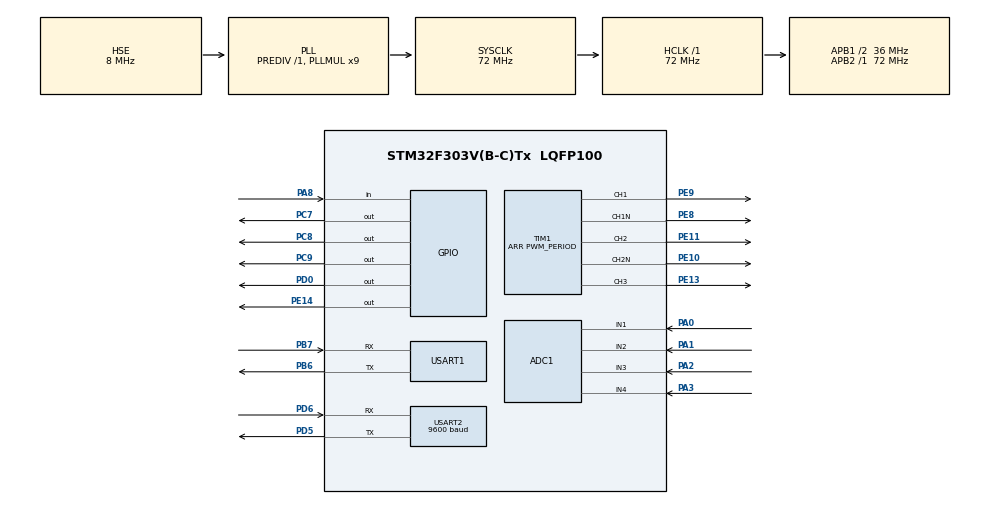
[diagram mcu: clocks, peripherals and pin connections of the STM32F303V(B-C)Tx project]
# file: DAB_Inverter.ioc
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ADC1.Channel-0\#ChannelRegularConversion=ADC_CHANNEL_1
ADC1.Channel-3\#ChannelRegularConversion=ADC_CHANNEL_3
ADC1.Channel-4\#ChannelRegularConversion=ADC_CHANNEL_4
ADC1.ContinuousConvMode=ENABLE
ADC1.DMAContinuousRequests=ENABLE
ADC1.NbrOfConversion=3
ADC1.NbrOfConversionFlag=1
ADC1.Offset-0\#ChannelRegularConversion=0
ADC1.Offset-3\#ChannelRegularConversion=0
ADC1.Offset-4\#ChannelRegularConversion=0
ADC1.OffsetNumber-0\#ChannelRegularConversion=ADC_OFFSET_NONE
ADC1.OffsetNumber-3\#ChannelRegularConversion=ADC_OFFSET_NONE
ADC1.OffsetNumber-4\#ChannelRegularConversion=ADC_OFFSET_NONE
ADC1.Rank-0\#ChannelRegularConversion=1
ADC1.Rank-3\#ChannelRegularConversion=2
ADC1.Rank-4\#ChannelRegularConversion=3
ADC1.SamplingTime-0\#ChannelRegularConversion=ADC_SAMPLETIME_181CYCLES_5
ADC1.SamplingTime-3\#ChannelRegularConversion=ADC_SAMPLETIME_181CYCLES_5
ADC1.SamplingTime-4\#ChannelRegularConversion=ADC_SAMPLETIME_181CYCLES_5
ADC1.SingleDiff-0\#ChannelRegularConversion=ADC_DIFFERENTIAL_ENDED
ADC1.master=1
Dma.ADC1.2.Direction=DMA_PERIPH_TO_MEMORY
Dma.ADC1.2.Instance=DMA1_Channel1
Dma.ADC1.2.MemDataAlignment=DMA_MDATAALIGN_HALFWORD
Dma.ADC1.2.MemInc=DMA_MINC_ENABLE
Dma.ADC1.2.Mode=DMA_CIRCULAR
Dma.ADC1.2.PeriphDataAlignment=DMA_PDATAALIGN_HALFWORD
Dma.ADC1.2.PeriphInc=DMA_PINC_DISABLE
Dma.ADC1.2.Priority=DMA_PRIORITY_HIGH
Dma.Request0=USART2_RX
Dma.Request1=USART2_TX
Dma.Request2=ADC1
Dma.USART2_RX.0.Direction=DMA_PERIPH_TO_MEMORY
Dma.USART2_RX.0.Instance=DMA1_Channel6
Dma.USART2_RX.0.MemDataAlignment=DMA_MDATAALIGN_BYTE
Dma.USART2_RX.0.MemInc=DMA_MINC_ENABLE
Dma.USART2_RX.0.Mode=DMA_CIRCULAR
Dma.USART2_RX.0.PeriphDataAlignment=DMA_PDATAALIGN_BYTE
Dma.USART2_RX.0.PeriphInc=DMA_PINC_DISABLE
Dma.USART2_RX.0.Priority=DMA_PRIORITY_LOW
Dma.USART2_TX.1.Direction=DMA_MEMORY_TO_PERIPH
Dma.USART2_TX.1.Instance=DMA1_Channel7
Dma.USART2_TX.1.MemDataAlignment=DMA_MDATAALIGN_BYTE
Dma.USART2_TX.1.MemInc=DMA_MINC_ENABLE
Dma.USART2_TX.1.Mode=DMA_NORMAL
Dma.USART2_TX.1.PeriphDataAlignment=DMA_PDATAALIGN_BYTE
Dma.USART2_TX.1.PeriphInc=DMA_PINC_DISABLE
Dma.USART2_TX.1.Priority=DMA_PRIORITY_LOW
Mcu.Family=STM32F3
Mcu.Name=STM32F303V(B-C)Tx
Mcu.Package=LQFP100
Mcu.UserConstants=PWM_PERIOD,600
NVIC.ADC1_2_IRQn=true\:1\:0\:true\:false\:true\:true\:true
NVIC.DMA1_Channel1_IRQn=true\:1\:0\:true\:false\:true\:false\:true
NVIC.DMA1_Channel6_IRQn=true\:0\:0\:true\:false\:true\:false\:true
NVIC.DMA1_Channel7_IRQn=true\:0\:0\:true\:false\:true\:false\:true
NVIC.PriorityGroup=NVIC_PRIORITYGROUP_4
NVIC.TIM3_IRQn=true\:0\:0\:true\:false\:true\:true\:true
NVIC.USART2_IRQn=true\:0\:0\:true\:false\:true\:true\:true
PA0.Mode=IN1-Differential
PA0.Signal=ADC1_IN1
PA1.Mode=IN1-Differential
PA1.Signal=ADC1_IN2
PA13.Mode=Serial_Wire
PA13.Signal=SYS_JTMS-SWDIO
PA14.Mode=Serial_Wire
PA14.Signal=SYS_JTCK-SWCLK
PA2.Mode=IN3-Single-Ended
PA2.Signal=ADC1_IN3
PA3.Mode=IN4-Single-Ended
PA3.Signal=ADC1_IN4
PA8.Signal=GPIO_Input
PB6.Mode=Asynchronous
PB6.Signal=USART1_TX
PB7.Mode=Asynchronous
PB7.Signal=USART1_RX
PC7.Signal=GPIO_Output
PC8.Signal=GPIO_Output
PC9.Signal=GPIO_Output
PD0.Signal=GPIO_Output
PD5.Mode=Asynchronous
PD5.Signal=USART2_TX
PD6.Mode=Asynchronous
PD6.Signal=USART2_RX
PE10.Mode=PWM Generation2 CH2 CH2N
PE10.Signal=TIM1_CH2N
PE11.Signal=S_TIM1_CH2
PE13.Signal=S_TIM1_CH3
PE14.Signal=GPIO_Output
PE8.Mode=PWM Generation1 CH1 CH1N
PE8.Signal=TIM1_CH1N
PE9.Signal=S_TIM1_CH1
PF0-OSC_IN.Mode=HSE-External-Oscillator
PF0-OSC_IN.Signal=RCC_OSC_IN
PF1-OSC_OUT.Mode=HSE-External-Oscillator
PF1-OSC_OUT.Signal=RCC_OSC_OUT
ProjectManager.HeapSize=0x200
ProjectManager.StackSize=0x400
ProjectManager.TargetToolchain=EWARM V8.32
RCC.AHBFreq_Value=72000000
RCC.APB1CLKDivider=RCC_HCLK_DIV2
RCC.APB1Freq_Value=36000000
RCC.APB1TimFreq_Value=72000000
RCC.APB2Freq_Value=72000000
RCC.APB2TimFreq_Value=72000000
RCC.CortexFreq_Value=72000000
RCC.HCLKFreq_Value=72000000
RCC.HSE_VALUE=8000000
RCC.HSI_VALUE=8000000
RCC.LSE_VALUE=32768
RCC.PLLMUL=RCC_PLL_MUL9
RCC.PLLSourceVirtual=RCC_PLLSOURCE_HSE
RCC.SYSCLKFreq_VALUE=72000000
RCC.SYSCLKSourceVirtual=RCC_SYSCLKSOURCE_PLLCLK
RCC.TIM1Selection=RCC_TIM1CLK_PLLCLK
RCC.USBFreq_Value=72000000
SH.S_TIM1_CH1.0=TIM1_CH1,PWM Generation1 CH1 CH1N
SH.S_TIM1_CH2.0=TIM1_CH2,PWM Generation2 CH2 CH2N
SH.S_TIM1_CH3.0=TIM1_CH3,PWM Generation3 CH3
TIM1.AutoReloadPreload=TIM_AUTORELOAD_PRELOAD_ENABLE
TIM1.Channel-PWM\ Generation1\ CH1\ CH1N=TIM_CHANNEL_1
TIM1.Channel-PWM\ Generation2\ CH2\ CH2N=TIM_CHANNEL_2
TIM1.Channel-PWM\ Generation3\ CH3=TIM_CHANNEL_3
TIM1.CounterMode=TIM_COUNTERMODE_CENTERALIGNED1
TIM1.OCMode_PWM-PWM\ Generation1\ CH1\ CH1N=TIM_OCMODE_ASSYMETRIC_PWM1
TIM1.OCMode_PWM-PWM\ Generation2\ CH2\ CH2N=TIM_OCMODE_ASSYMETRIC_PWM1
TIM1.Period=PWM_PERIOD
TIM1.Pulse-PWM\ Generation1\ CH1\ CH1N=PWM_PERIOD/2
TIM1.Pulse-PWM\ Generation2\ CH2\ CH2N=PWM_PERIOD/2
TIM1.Pulse-PWM\ Generation3\ CH3=PWM_PERIOD
TIM3.Period=19
TIM3.Prescaler=599
USART1.VirtualMode-Asynchronous=VM_ASYNC
USART2.BaudRate=9600
USART2.VirtualMode-Asynchronous=VM_ASYNC
VP_TIM1_VS_ClockSourceINT.Mode=Internal
VP_TIM3_VS_ClockSourceINT.Mode=Internal
board=custom

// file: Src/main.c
/* USER CODE BEGIN Header */
/**
  ******************************************************************************
  * @file           : main.c
  * @brief          : Main program body
  ******************************************************************************
  * @attention
  *
  * <h2><center>&copy; Copyright (c) 2020 STMicroelectronics.
  * All rights reserved.</center></h2>
  *
  * This software component is licensed by ST under BSD 3-Clause license,
  * the "License"; You may not use this file except in compliance with the
  * License. You may obtain a copy of the License at:
  *                        opensource.org/licenses/BSD-3-Clause
  *
  ******************************************************************************
  */
/* USER CODE END Header */

#include "main.h"
#include "adc.h"
#include "dma.h"
#include "tim.h"
#include "usart.h"
#include "gpio.h"

/* USER CODE BEGIN Includes */
#include "stm32f3xx_it.h"
#include "stm32f3xx_hal_rcc.h"
#include "printf.h"
/* USER CODE END Includes */

/* USER CODE BEGIN PV */
typedef enum reset_cause_e
{
    RESET_CAUSE_UNKNOWN = 0,
    RESET_CAUSE_LOW_POWER_RESET,
    RESET_CAUSE_WINDOW_WATCHDOG_RESET,
    RESET_CAUSE_INDEPENDENT_WATCHDOG_RESET,
    RESET_CAUSE_SOFTWARE_RESET,
    RESET_CAUSE_POWER_ON_POWER_DOWN_RESET,
    RESET_CAUSE_EXTERNAL_RESET_PIN_RESET,
    RESET_CAUSE_BROWNOUT_RESET,
} reset_cause_t;
/* USER CODE END PV */

void SystemClock_Config(void);
/* USER CODE BEGIN PFP */

uint32_t DWT_Init(void)
{
    /* Disable TRC */
    CoreDebug->DEMCR &= ~CoreDebug_DEMCR_TRCENA_Msk; // ~0x01000000;
    /* Enable TRC */
    CoreDebug->DEMCR |=  CoreDebug_DEMCR_TRCENA_Msk; // 0x01000000;
    /* Disable clock cycle counter */
    DWT->CTRL &= ~DWT_CTRL_CYCCNTENA_Msk; //~0x00000001;
    /* Enable  clock cycle counter */
    DWT->CTRL |=  DWT_CTRL_CYCCNTENA_Msk; //0x00000001;
    /* Reset the clock cycle counter value */
    DWT->CYCCNT = 0;
    /* 3 NO OPERATION instructions */
    __ASM volatile ("NOP");
    __ASM volatile ("NOP");
    __ASM volatile ("NOP");
    /* Check if clock cycle counter has started */
    if(DWT->CYCCNT)
    {
       return 0; /*clock cycle counter started*/
    }
    else
    {
      return 1; /*clock cycle counter not started*/
    }
}

reset_cause_t reset_cause_get(void)
{
    reset_cause_t reset_cause;

    if (__HAL_RCC_GET_FLAG(RCC_FLAG_LPWRRST))
    {
        reset_cause = RESET_CAUSE_LOW_POWER_RESET;
    }
    else if (__HAL_RCC_GET_FLAG(RCC_FLAG_WWDGRST))
    {
        reset_cause = RESET_CAUSE_WINDOW_WATCHDOG_RESET;
    }
    else if (__HAL_RCC_GET_FLAG(RCC_FLAG_IWDGRST))
    {
        reset_cause = RESET_CAUSE_INDEPENDENT_WATCHDOG_RESET;
    }
    else if (__HAL_RCC_GET_FLAG(RCC_FLAG_SFTRST))
    {
        reset_cause = RESET_CAUSE_SOFTWARE_RESET; // This reset is induced by calling the ARM CMSIS `NVIC_SystemReset()` function!
    }
    else if (__HAL_RCC_GET_FLAG(RCC_FLAG_PORRST))
    {
        reset_cause = RESET_CAUSE_POWER_ON_POWER_DOWN_RESET;
    }
    else if (__HAL_RCC_GET_FLAG(RCC_FLAG_PINRST))
    {
        reset_cause = RESET_CAUSE_EXTERNAL_RESET_PIN_RESET;
    }
    // Needs to come *after* checking the `RCC_FLAG_PORRST` flag in order to ensure first that the reset cause is
    // NOT a POR/PDR reset. See note below.
    else
    {
        reset_cause = RESET_CAUSE_UNKNOWN;
    }

    // Clear all the reset flags or else they will remain set during future resets until system power is fully removed.
    __HAL_RCC_CLEAR_RESET_FLAGS();

    return reset_cause;
}
/* USER CODE END PFP */

int main(void)
{

  /* MCU Configuration--------------------------------------------------------*/

  /* Reset of all peripherals, Initializes the Flash interface and the Systick. */
  HAL_Init();

  /* USER CODE BEGIN Init */
  short resetFlag = reset_cause_get();
  /* USER CODE END Init */

  /* Configure the system clock */
  SystemClock_Config();

  /* Initialize all configured peripherals */
  MX_TIM1_Init();
  MX_GPIO_Init();
  MX_DMA_Init();
  MX_ADC1_Init();
  MX_USART1_UART_Init();
  MX_USART2_UART_Init();
  MX_TIM3_Init();
  /* USER CODE BEGIN 2 */

  char monitor_buf[55];
  snprintf(monitor_buf,55,"System Start up! Last Reset Flag is %d, DWT Status %d\r\n\n",resetFlag,DWT_Init());
  print_debug(monitor_buf);
  start_pwm();
  change_phase_shift(145);
  change_duty_cycle(500);
  // turn on unfolding bridge
  // HAL_GPIO_WritePin(GPIOE, GPIO_PIN_13, GPIO_PIN_RESET);
  // HAL_GPIO_WritePin(GPIOE, GPIO_PIN_14, GPIO_PIN_RESET);
  HAL_GPIO_WritePin(GPIOE, GPIO_PIN_8, GPIO_PIN_RESET);
  HAL_GPIO_WritePin(GPIOE, GPIO_PIN_9, GPIO_PIN_RESET);
  HAL_GPIO_WritePin(GPIOE, GPIO_PIN_10, GPIO_PIN_RESET);
  HAL_GPIO_WritePin(GPIOE, GPIO_PIN_11, GPIO_PIN_RESET);
  // HAL_GPIO_WritePin(GPIOB, GPIO_PIN_1, GPIO_PIN_RESET);

  // auto calibrating ADC
  HAL_ADCEx_Calibration_Start(&hadc1,ADC_SINGLE_ENDED);
  HAL_ADCEx_Calibration_Start(&hadc1,ADC_DIFFERENTIAL_ENDED);

  /* USER CODE END 2 */

  /* Infinite loop */
  /* USER CODE BEGIN WHILE */
  // start the ADC
  int status = HAL_ADC_Start_DMA(&hadc1, (uint32_t*)adc1_buffer, 3);
  if (status != HAL_OK)
      print_debug("Failed to Initialize ADC\r\n");

  // Current Control Variables
  short currOutput = 0;
  short currFiltered = 0;
  //short currCmd  = 100;
  short currError = 0;

  float currSI = 0.0;
  float currSiFiltered = 0.0;
  float currErrorInt = 0.0f;
  float currErrorIntSat = 5.0f;

  short KpCurrent = 3;
  short KiCurrent = 3000;
  short Kpv = -2;
  short Dcmd = 0;
  short DcmdNew = Dcmd;

  // Voltage Control Variables
  float voltErrorInt = 0.0f;
  float voltErrorIntSat = 15.0f;
  short Kp = 4 ;
  short Ki = 3400;
  short phiCmdTick = 0;
  //short phiNom = 150;
  short voltOutput = 0;
  short voltInput  = 0;
  short voltError = 0;
  short dphiCmdTick = 0;

  short maxDphi = 10;
  int saturateCnt = 0;
  int tick = 0;
  long int  monitorCnt = 0;

  char monitorBuf[100];
  // start the timer
  HAL_TIM_Base_Start_IT(&htim3); // enable timer 3 interrupt

  while (1)
  {

    if (voltUpdate == 0) // wait for new ADC value to come in
        continue;

    tick = DWT->CYCCNT; // Check Timelapse
    DWT->CYCCNT = 0;
    voltUpdate  = 0; // clear update flag

    voltInput  = 0.9f*voltInput+0.1f*(*adc_val3);
    voltCmd = voltInput/2.5f;// 200; // Fixed Voltage Tracking
    voltOutput = *adc_val1 - 2048;
    voltError  = voltCmd - voltOutput;
    voltErrorInt = voltErrorInt + voltError*tick/(72000000.0f);

    if (voltOutput>1000)
    {
      snprintf(monitorBuf,50,"HV at Cout!\r\n");
      print_debug(monitorBuf);
      change_phase_shift(0);
      continue;
    }

    // current
    currCmd = 100;
    currOutput = *adc_val2 - 2048;
    currFiltered = 0.95f*currFiltered + 0.05f*currOutput;
    currError = currCmd - currFiltered;
    currErrorInt = currErrorInt + currError*tick/(72000000.0f);

    // Anti-windup for current
    if (currErrorInt>currErrorIntSat)
    {
      currErrorInt = currErrorIntSat;
    }
    else if (currErrorInt<-currErrorIntSat)
    {
      currErrorInt = -currErrorIntSat;
    }

    // DcmdNew = (KpCurrent*currError + KiCurrent*currErrorInt)+Kpv*voltError;
    DcmdNew = -48*voltErrorInt - 106*currErrorInt - 3*voltError+2*currError;

    if (DcmdNew>590)
    {
      DcmdNew = 590;
    }
    else if (DcmdNew<20)
    {
      DcmdNew = 20;
    }

    Dcmd = 0.9f*Dcmd+0.1f*DcmdNew;

    change_duty_cycle(Dcmd);

//    currSI = (currOutput-2048.0)/4096.0*50.0;
//    currSiFiltered = 0.9*currSiFiltered + 0.1*currSI;

    // clamp integral error (anti windup)
    if (voltErrorInt>voltErrorIntSat)
    {
      voltErrorInt = voltErrorIntSat;
    }
    else if (voltErrorInt<-voltErrorIntSat)
    {
      voltErrorInt = -voltErrorIntSat;
    }

    //dphiCmdTick = (Kp*voltError + Ki*voltErrorInt) -  phiCmdTick ;

    //phiCmdTick = 0.9f*phiCmdTick + 0.1f*(Kp*voltError + Ki*voltErrorInt);
     phiCmdTick = 0.9f*phiCmdTick + 0.1f*(-2*voltErrorInt +38*currErrorInt);

    if (phiCmdTick>150)
    {
      //
      phiCmdTick=150;
    }
    else if (phiCmdTick<20)
    {
      phiCmdTick = 20 ;
    }
    //else
    //{
    //  HAL_GPIO_TogglePin(GPIOD,GPIO_PIN_0);
    //}
//    else if (phiCmdTick<-10)
//    {
//      HAL_GPIO_WritePin(GPIOD,GPIO_PIN_0,GPIO_PIN_SET);
//    }
//    else
//    {
//      HAL_GPIO_WritePin(GPIOD,GPIO_PIN_0,GPIO_PIN_RESET);
//    }

     change_phase_shift(phiCmdTick);
     // change_phase_shift(phiNom);
     //phiNom = -phiNom;

//     if (abs(Dcmd-DcmdNew)> 30)
//     {
//         snprintf(monitorBuf,50,"Djump!!\r\n");
//         print_debug(monitorBuf);
//     }

     if ((monitorCnt%300000)==0)
     {
        // Vin  to  ADC: 19.7  <-> 620
        // Vout to  ADC: 11.27 <-> 170
        // Iout to  ADC: 1.12 <-> 83
//       snprintf(monitorBuf,50,"phi: %d, err_int %5.4f,tick: %d \r\n\n",phiCmdTick,voltErrorInt,tick);
       snprintf(monitorBuf,100,"D: %d, phi: %d, Curr: %d, Vout %d, Vin: %d, VerrInt: %4.2f, IerrInt: %4.2f\r\n",Dcmd,phiCmdTick,currError, voltError,voltInput,voltErrorInt,currErrorInt);
       print_debug(monitorBuf);
       monitorCnt = 1;
     }
      monitorCnt++;
      HAL_GPIO_TogglePin(GPIOD,GPIO_PIN_0);

    /* USER CODE END WHILE */

  }
}

void SystemClock_Config(void)
{
  RCC_OscInitTypeDef RCC_OscInitStruct = {0};
  RCC_ClkInitTypeDef RCC_ClkInitStruct = {0};
  RCC_PeriphCLKInitTypeDef PeriphClkInit = {0};

  /** Initializes the CPU, AHB and APB busses clocks
  */
  RCC_OscInitStruct.OscillatorType = RCC_OSCILLATORTYPE_HSE;
  RCC_OscInitStruct.HSEState = RCC_HSE_ON;
  RCC_OscInitStruct.HSEPredivValue = RCC_HSE_PREDIV_DIV1;
  RCC_OscInitStruct.HSIState = RCC_HSI_ON;
  RCC_OscInitStruct.PLL.PLLState = RCC_PLL_ON;
  RCC_OscInitStruct.PLL.PLLSource = RCC_PLLSOURCE_HSE;
  RCC_OscInitStruct.PLL.PLLMUL = RCC_PLL_MUL9;
  if (HAL_RCC_OscConfig(&RCC_OscInitStruct) != HAL_OK)
  {
    Error_Handler();
  }
  /** Initializes the CPU, AHB and APB busses clocks
  */
  RCC_ClkInitStruct.ClockType = RCC_CLOCKTYPE_HCLK|RCC_CLOCKTYPE_SYSCLK
                              |RCC_CLOCKTYPE_PCLK1|RCC_CLOCKTYPE_PCLK2;
  RCC_ClkInitStruct.SYSCLKSource = RCC_SYSCLKSOURCE_PLLCLK;
  RCC_ClkInitStruct.AHBCLKDivider = RCC_SYSCLK_DIV1;
  RCC_ClkInitStruct.APB1CLKDivider = RCC_HCLK_DIV2;
  RCC_ClkInitStruct.APB2CLKDivider = RCC_HCLK_DIV1;

  if (HAL_RCC_ClockConfig(&RCC_ClkInitStruct, FLASH_LATENCY_2) != HAL_OK)
  {
    Error_Handler();
  }
  PeriphClkInit.PeriphClockSelection = RCC_PERIPHCLK_USART1|RCC_PERIPHCLK_USART2
                              |RCC_PERIPHCLK_TIM1|RCC_PERIPHCLK_ADC12;
  PeriphClkInit.Usart1ClockSelection = RCC_USART1CLKSOURCE_PCLK2;
  PeriphClkInit.Usart2ClockSelection = RCC_USART2CLKSOURCE_PCLK1;
  PeriphClkInit.Adc12ClockSelection = RCC_ADC12PLLCLK_DIV1;
  PeriphClkInit.Tim1ClockSelection = RCC_TIM1CLK_PLLCLK;
  if (HAL_RCCEx_PeriphCLKConfig(&PeriphClkInit) != HAL_OK)
  {
    Error_Handler();
  }
}

void Error_Handler(void)
{
}

/************************ (C) COPYRIGHT STMicroelectronics *****END OF FILE****/
